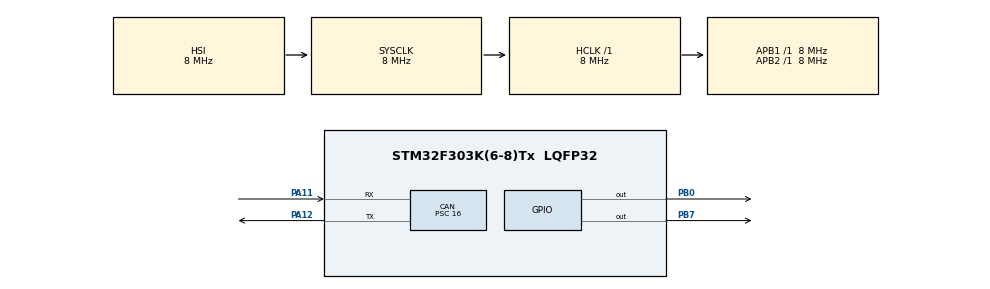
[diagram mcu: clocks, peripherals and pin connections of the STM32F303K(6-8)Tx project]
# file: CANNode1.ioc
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CAN.BS1=CAN_BS1_8TQ
CAN.CalculateBaudRate=50000
CAN.CalculateTimeBit=20000
CAN.CalculateTimeQuantum=2000.0
CAN.Prescaler=16
Mcu.Family=STM32F3
Mcu.Name=STM32F303K(6-8)Tx
Mcu.Package=LQFP32
NVIC.CAN_RX0_IRQn=true\:0\:0\:false\:false\:true\:true\:true\:true
NVIC.PriorityGroup=NVIC_PRIORITYGROUP_4
PA11.Mode=CAN_Activate
PA11.Signal=CAN_RX
PA12.Mode=CAN_Activate
PA12.Signal=CAN_TX
PB0.Signal=GPIO_Output
PB7.Signal=GPIO_Output
ProjectManager.HeapSize=0x200
ProjectManager.StackSize=0x400
ProjectManager.TargetToolchain=STM32CubeIDE
RCC.AHBFreq_Value=8000000
RCC.APB1Freq_Value=8000000
RCC.APB2Freq_Value=8000000
RCC.CortexFreq_Value=8000000
RCC.HSE_VALUE=8000000
RCC.HSI_VALUE=8000000
RCC.SYSCLKFreq_VALUE=8000000
board=custom

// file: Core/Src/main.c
/* USER CODE BEGIN Header */
/**
  ******************************************************************************
  * @file           : main.c
  * @brief          : Main program body
  ******************************************************************************
  * @attention
  *
  * Copyright (c) 2025 STMicroelectronics.
  * All rights reserved.
  *
  * This software is licensed under terms that can be found in the LICENSE file
  * in the root directory of this software component.
  * If no LICENSE file comes with this software, it is provided AS-IS.
  *
  ******************************************************************************
  */
/* USER CODE END Header */
#include "main.h"

/* USER CODE BEGIN PD */
CAN_TxHeaderTypeDef TxHeader;
CAN_RxHeaderTypeDef RxHeader;
uint8_t TxData[8];
uint8_t RxData[8];
uint32_t TxMailbox;

/* USER CODE END PD */

CAN_HandleTypeDef hcan;

void SystemClock_Config(void);
static void MX_GPIO_Init(void);
static void MX_CAN_Init(void);

int main(void)
{

  /* MCU Configuration--------------------------------------------------------*/

  /* Reset of all peripherals, Initializes the Flash interface and the Systick. */
  HAL_Init();

  /* Configure the system clock */
  SystemClock_Config();

  /* Initialize all configured peripherals */
  MX_GPIO_Init();
  MX_CAN_Init();
  /* USER CODE BEGIN 2 */
  HAL_CAN_Start(&hcan);
  HAL_CAN_ActivateNotification(&hcan, CAN_IT_RX_FIFO0_MSG_PENDING);
  /* USER CODE END 2 */

  /* Infinite loop */
  while (1)
  {

    /* USER CODE BEGIN 3 */
	  CAN_Send_Message(0x420, "DevHeads", 8);
	  HAL_Delay(2000);
  }
  /* USER CODE END 3 */
}

void SystemClock_Config(void)
{
  RCC_OscInitTypeDef RCC_OscInitStruct = {0};
  RCC_ClkInitTypeDef RCC_ClkInitStruct = {0};

  /** Initializes the RCC Oscillators according to the specified parameters
  * in the RCC_OscInitTypeDef structure.
  */
  RCC_OscInitStruct.OscillatorType = RCC_OSCILLATORTYPE_HSI;
  RCC_OscInitStruct.HSIState = RCC_HSI_ON;
  RCC_OscInitStruct.HSICalibrationValue = RCC_HSICALIBRATION_DEFAULT;
  RCC_OscInitStruct.PLL.PLLState = RCC_PLL_NONE;
  if (HAL_RCC_OscConfig(&RCC_OscInitStruct) != HAL_OK)
  {
    Error_Handler();
  }

  /** Initializes the CPU, AHB and APB buses clocks
  */
  RCC_ClkInitStruct.ClockType = RCC_CLOCKTYPE_HCLK|RCC_CLOCKTYPE_SYSCLK
                              |RCC_CLOCKTYPE_PCLK1|RCC_CLOCKTYPE_PCLK2;
  RCC_ClkInitStruct.SYSCLKSource = RCC_SYSCLKSOURCE_HSI;
  RCC_ClkInitStruct.AHBCLKDivider = RCC_SYSCLK_DIV1;
  RCC_ClkInitStruct.APB1CLKDivider = RCC_HCLK_DIV1;
  RCC_ClkInitStruct.APB2CLKDivider = RCC_HCLK_DIV1;

  if (HAL_RCC_ClockConfig(&RCC_ClkInitStruct, FLASH_LATENCY_0) != HAL_OK)
  {
    Error_Handler();
  }
}

static void MX_CAN_Init(void)
{

  hcan.Instance = CAN;
  hcan.Init.Prescaler = 16;
  hcan.Init.Mode = CAN_MODE_NORMAL;
  hcan.Init.SyncJumpWidth = CAN_SJW_1TQ;
  hcan.Init.TimeSeg1 = CAN_BS1_8TQ;
  hcan.Init.TimeSeg2 = CAN_BS2_1TQ;
  hcan.Init.TimeTriggeredMode = DISABLE;
  hcan.Init.AutoBusOff = DISABLE;
  hcan.Init.AutoWakeUp = DISABLE;
  hcan.Init.AutoRetransmission = DISABLE;
  hcan.Init.ReceiveFifoLocked = DISABLE;
  hcan.Init.TransmitFifoPriority = DISABLE;
  if (HAL_CAN_Init(&hcan) != HAL_OK)
  {
    Error_Handler();
  }
  /* USER CODE BEGIN CAN_Init 2 */
  CAN_FilterTypeDef canfilterconfig;

  canfilterconfig.FilterActivation = CAN_FILTER_ENABLE;
  canfilterconfig.FilterBank = 0;
  canfilterconfig.FilterFIFOAssignment = CAN_FILTER_FIFO0;
  canfilterconfig.FilterIdHigh = 0x0000;
  canfilterconfig.FilterIdLow = 0x0000;
  canfilterconfig.FilterMaskIdHigh = 0x0000;
  canfilterconfig.FilterMaskIdLow = 0x0000;
  canfilterconfig.FilterMode = CAN_FILTERMODE_IDMASK;
  canfilterconfig.FilterScale = CAN_FILTERSCALE_32BIT;
  canfilterconfig.SlaveStartFilterBank = 0;

  if (HAL_CAN_ConfigFilter(&hcan, &canfilterconfig) != HAL_OK)
   {
     Error_Handler();
   }
  /* USER CODE END CAN_Init 2 */

}

static void MX_GPIO_Init(void)
{
  GPIO_InitTypeDef GPIO_InitStruct = {0};

  /* GPIO Ports Clock Enable */
  __HAL_RCC_GPIOB_CLK_ENABLE();
  __HAL_RCC_GPIOA_CLK_ENABLE();

  /*Configure GPIO pin Output Level */
  HAL_GPIO_WritePin(GPIOB, GPIO_PIN_0|GPIO_PIN_7, GPIO_PIN_RESET);

  /*Configure GPIO pins : PB0 PB7 */
  GPIO_InitStruct.Pin = GPIO_PIN_0|GPIO_PIN_7;
  GPIO_InitStruct.Mode = GPIO_MODE_OUTPUT_PP;
  GPIO_InitStruct.Pull = GPIO_NOPULL;
  GPIO_InitStruct.Speed = GPIO_SPEED_FREQ_LOW;
  HAL_GPIO_Init(GPIOB, &GPIO_InitStruct);

}

/* USER CODE BEGIN 4 */
void HAL_CAN_RxFifo0MsgPendingCallback(CAN_HandleTypeDef *hcan)
{
	if (HAL_CAN_GetRxMessage(hcan, CAN_RX_FIFO0, &RxHeader, RxData) != HAL_OK)
	{
		Error_Handler();
	}

	if(RxHeader.StdId ==  0x322)	//button status of CAN button1
	{
		if(RxData[0] == 1){
			HAL_GPIO_TogglePin(GPIOB, GPIO_PIN_0); // RED LED
		}
	}

	if(RxHeader.StdId ==  0x422)	//button status of CAN button1
	{
		if(RxData[0] == 1){
			HAL_GPIO_TogglePin(GPIOB, GPIO_PIN_7); // GREEN LED
		}
	}
}

void CAN_Send_Message(uint32_t canId, uint8_t *data, uint8_t length)
{
	TxHeader.DLC = length;
	TxHeader.ExtId = 0;                   // Not using extended ID
	TxHeader.IDE = CAN_ID_STD;
	TxHeader.StdId = canId;
	TxHeader.RTR = CAN_RTR_DATA;
	TxHeader.TransmitGlobalTime = DISABLE;

	while (HAL_CAN_GetTxMailboxesFreeLevel(&hcan) == 0);
	HAL_CAN_AddTxMessage(&hcan, &TxHeader, data, &TxMailbox);
}

/* USER CODE END 4 */

void Error_Handler(void)
{
  __disable_irq();
  while (1)
  {
  }
}
